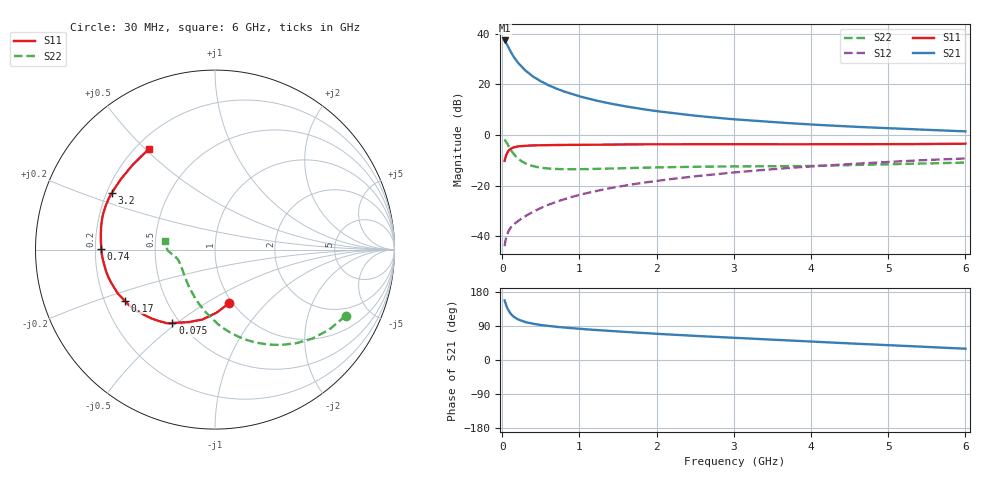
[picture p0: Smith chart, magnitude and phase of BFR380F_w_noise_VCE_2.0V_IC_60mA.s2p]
! Infineon Technologies  Discrete & RF Semiconductors
! BFR380F
! VCE =  2.0 V,  IC =  60 mA
! Common Emitter S-Parameters:  Nov 2015
# GHz  S  MA  R  50
!  f  S11  S21  S12  S22
! GHz  MAG  ANG  MAG  ANG  MAG  ANG  MAG  ANG
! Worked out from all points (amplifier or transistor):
!   206 points, 30 MHz to 6 GHz, reference 50 ohm
!   highest |S21| = 37.4 dB at 30 MHz (marker M1)
!   |S21| within 3 dB of that: start of sweep to 83.6 MHz
!   unconditionally stable (mu >= 1): 677.5 MHz to 4.937 GHz
!   at 200 MHz: K = 0.70, MSG = 31.4 dB, |S12| = -34.2 dB
!   at 1.56 GHz: K = 1.05, MAG = 14.5 dB, |S12| = -20.2 dB
!   at 6 GHz: K = 0.99, MSG = 5.4 dB, |S12| = -9.3 dB
!   lowest NFmin = 1.67 dB at 900 MHz
!   S11 on the Smith chart (normalised r, x): 30 MHz: 0.97, -0.64; 75 MHz: 0.46, -0.48; 170 MHz: 0.28, -0.24; 740 MHz: 0.22, +0.00; 3.2 GHz: 0.22, +0.25; 6 GHz: 0.25, +0.51
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0.03  0.3082 -74.9  74.25 157.2  0.0063 75.0  0.8156 -26.9
0.04  0.3524 -88.8  70.4 150.6  0.0079 70.9  0.7765 -35.1
0.05  0.3961 -100.3  66.34 144.3  0.0094 67.8  0.7339 -42.6
0.06  0.431 -110.2  61.89 139.4  0.0105 64.0  0.689 -49.3
0.075  0.473 -120.1  55.78 132.9  0.012 60.9  0.6259 -57.9
0.1  0.5206 -132.3  47.01 124.5  0.014 57.8  0.5376 -70.1
0.12  0.5432 -139.5  41.43 119.6  0.0154 56.8  0.4812 -77.9
0.15  0.5704 -147.1  34.89 113.9  0.017 56.4  0.4172 -87.5
0.17  0.5782 -150.6  31.79 111.7  0.018 57.0  0.3867 -91.9
0.2  0.5938 -155.6  27.27 107.4  0.0196 57.8  0.3463 -100.0
0.24  0.6019 -160.0  23.33 104.2  0.0217 59.4  0.3105 -107.5
0.3  0.6128 -165.1  18.84 100.0  0.0248 61.7  0.2737 -117.6
0.36  0.6186 -168.7  15.88 97.2  0.0281 63.8  0.2519 -125.2
0.5  0.6265 -174.4  11.52 92.3  0.036 67.4  0.2251 -138.4
0.74  0.6334 179.6  7.868 86.9  0.0499 70.6  0.2115 -151.8
1.04  0.6392 174.2  5.612 81.8  0.0675 72.2  0.2107 -160.9
2.02  0.6543 162.3  2.94 69.0  0.1247 71.2  0.2281 -170.9
3.1  0.6559 152.0  1.994 57.6  0.1868 67.5  0.2392 -173.9
3.2  0.6553 151.0  1.944 56.6  0.1926 67.0  0.2395 -174.0
4.1  0.6546 142.3  1.582 47.5  0.244 62.7  0.2452 -175.0
5.1  0.6586 132.9  1.34 38.3  0.2984 57.4  0.2656 -180.0
6  0.6717 123.2  1.178 29.8  0.3433 51.7  0.2839 169.9
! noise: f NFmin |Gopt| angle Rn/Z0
0.45  1.68  0.45  -175  0.08
0.9  1.67  0.47  -173  0.07
1.8  1.88  0.51  -161  0.1
1.9  1.99  0.51  -161  0.1
2.4  2.04  0.52  -152  0.13
3.5  2.67  0.55  -142  0.23
